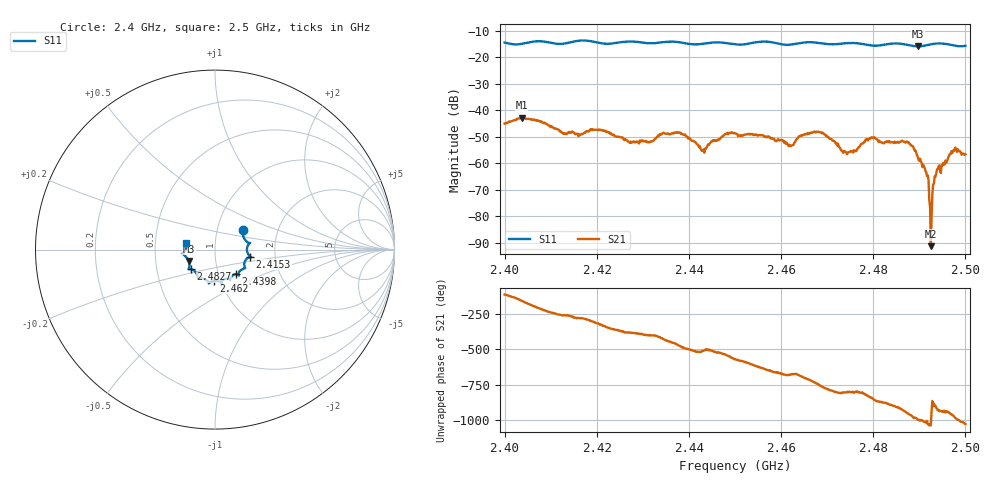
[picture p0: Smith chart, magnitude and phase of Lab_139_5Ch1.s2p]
# Hz S RI R 50
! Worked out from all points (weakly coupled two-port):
!   601 points, 2.4 GHz to 2.5 GHz, reference 50 ohm
!   highest |S21| = -42.84 dB at 2.4037 GHz (marker M1); lowest = -91.3 dB at 2.4925 GHz (marker M2)
!   lowest |S11| = -15.9 dB at 2.4897 GHz (marker M3), VSWR 1.38, Z = 36.9 - j4.83 ohm
!   |S11| at or under -10 dB: start of sweep to end of sweep
!   S12 and S22 are empty: the file has one direction only
!   S11 on the Smith chart (normalised r, x): 2.4 GHz: 1.33, +0.30; 2.4153 GHz: 1.48, -0.12; 2.4398 GHz: 1.21, -0.34; 2.462 GHz: 0.93, -0.33; 2.4827 GHz: 0.75, -0.17; 2.5 GHz: 0.72, +0.06
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2.4e9  0.1557 0.1069  -0.00231 -0.0051  0 0  0 0
2.403667e9  0.1713 0.0504  -0.00669 -0.00269  0 0  0 0
2.415333e9  0.1959 -0.0387  0.000532 0.00347  0 0  0 0
2.416667e9  0.202 -0.0425  0.000637 0.00351  0 0  0 0
2.427333e9  0.1686 -0.1032  0.00238 -0.000973  0 0  0 0
2.433333e9  0.131 -0.1335  0.00207 -0.00261  0 0  0 0
2.439833e9  0.1158 -0.1365  -0.00219 -0.00192  0 0  0 0
2.443167e9  0.088 -0.1568  -0.0016 -0.000871  0 0  0 0
2.45e9  0.065 -0.1624  -0.00319 0.00183  0 0  0 0
2.462e9  -0.00481 -0.1727  0.00159 0.00138  0 0  0 0
2.466667e9  -0.034 -0.1882  0.00371 -0.00033  0 0  0 0
2.474e9  -0.0882 -0.1606  8.92e-05 -0.00164  0 0  0 0
2.479667e9  -0.1072 -0.1269  -0.00166 -0.0026  0 0  0 0
2.482667e9  -0.1351 -0.1093  -0.00236 -0.000954  0 0  0 0
2.483333e9  -0.1402 -0.1089  -0.00245 -0.000487  0 0  0 0
2.4875e9  -0.1426 -0.0926  -0.00145 0.002  0 0  0 0
2.489667e9  -0.1468 -0.0637  0.000189 0.0013  0 0  0 0
2.4915e9  -0.1626 -0.0393  0.000342 0.000587  0 0  0 0
2.4925e9  -0.1722 -0.0303  2.04e-05 1.81e-05  0 0  0 0
2.493833e9  -0.18 -0.0234  -0.000721 0.000252  0 0  0 0
2.4975e9  -0.1665 -0.00195  -0.000484 0.00163  0 0  0 0
2.5e9  -0.1591 0.0383  0.000926 0.00115  0 0  0 0
